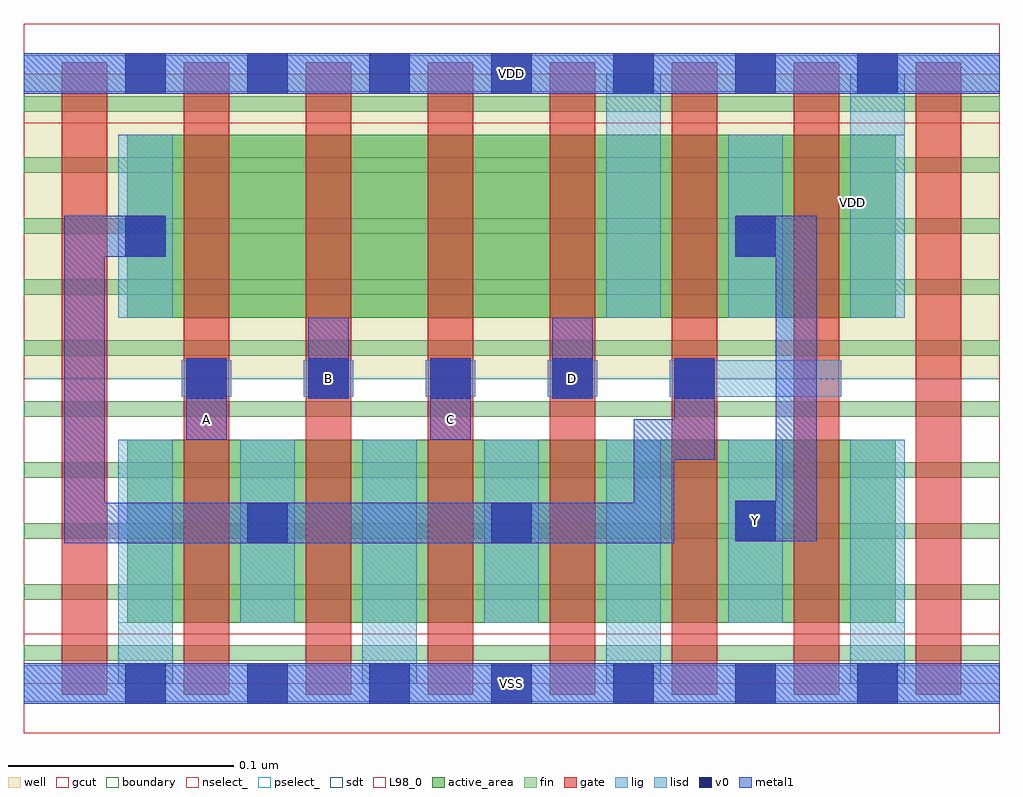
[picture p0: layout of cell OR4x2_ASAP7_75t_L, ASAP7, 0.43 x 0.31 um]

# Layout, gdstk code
import gdstk
lib = gdstk.Library(unit=1e-6, precision=2.5e-10)
def R(c, l, rs):  # rectangles x0, y0, x1, y1
    for r in rs: c.add(gdstk.rectangle(r[:2], r[2:], *l))
def A(c, l, x, y, w, h, nx, ny, dx, dy):  # array of equal rectangles
    R(c, l, [(x+i*dx, y+j*dy, x+i*dx+w, y+j*dy+h) for i in range(nx) for j in range(ny)])
def P(c, l, *ps):  # polygons
    for p in ps: c.add(gdstk.Polygon(p, *l))
well = (1, 0)
fin = (2, 0)
gate = (7, 0)
gcut = (10, 0)
active_area = (11, 0)
nselect_ = (12, 0)
pselect_ = (13, 0)
lig = (16, 0)
lisd = (17, 0)
v0 = (18, 0)
metal1 = (19, 0)
sdt = (88, 0)
L98_0 = (98, 0)
boundary = (100, 0)

or4x2_asap7_75t_l = lib.new_cell('OR4x2_ASAP7_75t_L')
R(or4x2_asap7_75t_l, well, [(0,0.135,0.432,0.27)])
A(or4x2_asap7_75t_l, fin, 0, 0.01, 0.432, 0.007, 1, 10, 0, 0.027)
A(or4x2_asap7_75t_l, gate, 0.017, -0.005, 0.02, 0.28, 8, 1, 0.054, 0)
R(or4x2_asap7_75t_l, gcut, [(0,-0.022,0.432,0.022), (0,0.248,0.432,0.292)])
R(or4x2_asap7_75t_l, active_area, [(0.046,0.027,0.386,0.108), (0.046,0.162,0.386,0.243)])
R(or4x2_asap7_75t_l, nselect_, [(0,0,0.432,0.135)])
R(or4x2_asap7_75t_l, pselect_, [(0,0.135,0.432,0.27)])
A(or4x2_asap7_75t_l, lig, 0.07, 0.127, 0.022, 0.016, 4, 1, 0.054, 0)
R(or4x2_asap7_75t_l, lig, [(0,-0.008,0.432,0.008), (0.286,0.127,0.362,0.143), (0,0.262,0.432,0.278)])
A(or4x2_asap7_75t_l, lisd, 0.042, 0, 0.024, 0.108, 4, 1, 0.108, 0)
A(or4x2_asap7_75t_l, lisd, 0.096, 0.027, 0.024, 0.081, 3, 1, 0.108, 0)
R(or4x2_asap7_75t_l, lisd, [(0.042,0.162,0.066,0.243), (0.258,0.162,0.282,0.27), (0.312,0.162,0.336,0.243), (0.366,0.162,0.39,0.27)])
A(or4x2_asap7_75t_l, v0, 0.045, -0.009, 0.018, 0.018, 7, 2, 0.054, 0.27)
A(or4x2_asap7_75t_l, v0, 0.072, 0.126, 0.018, 0.018, 5, 1, 0.054, 0)
R(or4x2_asap7_75t_l, v0, [(0.099,0.062,0.117,0.08), (0.207,0.062,0.225,0.08), (0.315,0.063,0.333,0.081), (0.045,0.189,0.063,0.207), (0.315,0.189,0.333,0.207)])
R(or4x2_asap7_75t_l, metal1, [(0,-0.009,0.432,0.009), (0.072,0.108,0.09,0.144), (0.18,0.108,0.198,0.144), (0.126,0.126,0.144,0.162), (0.234,0.126,0.252,0.162), (0,0.261,0.432,0.279)])
P(or4x2_asap7_75t_l, metal1, [(0.315,0.063),(0.315,0.081),(0.333,0.081),(0.333,0.189),(0.315,0.189),(0.315,0.207),(0.351,0.207),(0.351,0.063)],
  [(0.018,0.062),(0.018,0.207),(0.063,0.207),(0.063,0.189),(0.036,0.189),(0.036,0.08),(0.27,0.08),(0.27,0.117),(0.288,0.117),(0.288,0.144),(0.306,0.144),(0.306,0.099),(0.288,0.099),(0.288,0.062)])
A(or4x2_asap7_75t_l, sdt, 0.042, 0.027, 0.024, 0.081, 7, 1, 0.054, 0)
A(or4x2_asap7_75t_l, sdt, 0.258, 0.162, 0.024, 0.081, 3, 1, 0.054, 0)
R(or4x2_asap7_75t_l, sdt, [(0.042,0.162,0.066,0.243)])
R(or4x2_asap7_75t_l, L98_0, [(0,0,0.432,0.27)])
R(or4x2_asap7_75t_l, boundary, [(0,0,0.432,0.27)])
or4x2_asap7_75t_l.add(gdstk.Label('D', (0.243,0.135), layer=19, texttype=251))
or4x2_asap7_75t_l.add(gdstk.Label('A', (0.081,0.117), layer=19, texttype=251))
or4x2_asap7_75t_l.add(gdstk.Label('Y', (0.324,0.072), layer=19, texttype=251))
or4x2_asap7_75t_l.add(gdstk.Label('B', (0.135,0.135), layer=19, texttype=251))
or4x2_asap7_75t_l.add(gdstk.Label('C', (0.189,0.117), layer=19, texttype=251))
or4x2_asap7_75t_l.add(gdstk.Label('VSS', (0.216,0), layer=19, texttype=251))
or4x2_asap7_75t_l.add(gdstk.Label('VDD', (0.216,0.27), layer=19, texttype=251))
or4x2_asap7_75t_l.add(gdstk.Label('VDD', (0.367,0.213), layer=1, texttype=251))
or4x2_asap7_75t_l.add(gdstk.Label('VSS', (0.497,0.213), layer=3, texttype=251))

lib.write_gds('OR4x2_ASAP7_75t_L.gds')
